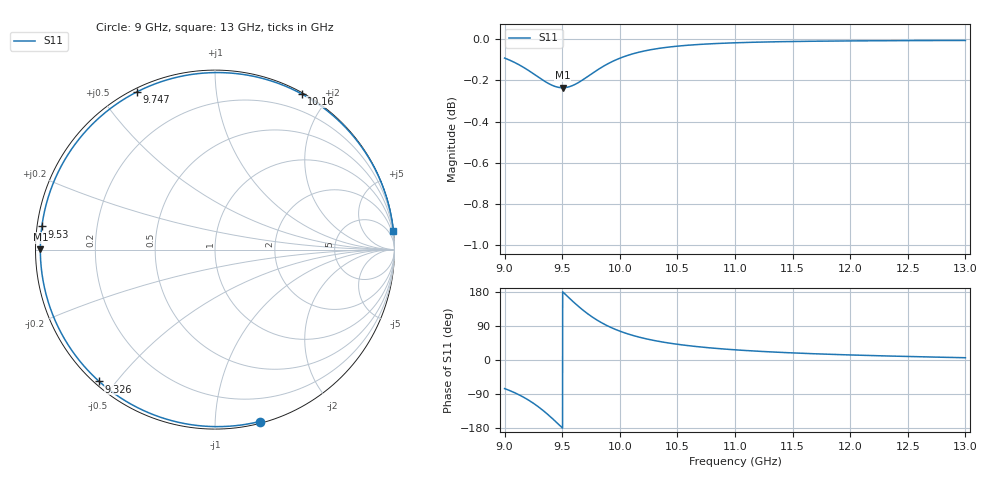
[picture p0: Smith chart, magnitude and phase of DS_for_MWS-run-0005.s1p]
! TOUCHSTONE file generated by CST DESIGN STUDIO
! Date and time: Tue Feb  4 14:24:10 2025
! Project name: C:\Work\MatlabApps\UnitCellOptimizationMatlab\CST\unitcell.cst
! Tree item: Tasks\Sweep1\SPara1\S-Parameters
! Header version: 2024
! Port assignment regex: !\s*Touchstone port\s*([0-9]+)\s*=\s*(CST MWS port|CST DES external port|CST DES block port)\s*(.+)\s* \(\"(.*)\"\)(\s*mode\s*([0-9]+))?.*
! Touchstone port assignment:
! Touchstone port 1 = CST DES external port 1 ("")
# GHz S MA R 50
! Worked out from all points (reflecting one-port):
!   4001 points, 9 GHz to 13 GHz, reference 50 ohm
!   lowest |S11| = -0.2 dB at 9.504 GHz (marker M1), VSWR 73.74, Z = 0.678 + j0.0203 ohm
!   phase of S11 starts at -75 deg and turns -279 deg over the sweep
!   S11 on the Smith chart (normalised r, x): 9 GHz: 0.01, -1.29; 9.326 GHz: 0.01, -0.45; 9.53 GHz: 0.01, +0.07; 9.747 GHz: 0.01, +0.62; 10.16 GHz: 0.01, +1.70; 13 GHz: 0, +19
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9  0.9895 -75.4
9.086  0.9871 -86.2
9.188  0.9835 -102.3
9.26  0.9805 -116.3
9.326  0.9777 -131.3
9.372  0.9759 -142.9
9.421  0.9743 -156.2
9.461  0.9735 -167.6
9.5  0.9732 -178.9
9.504  0.9732 180.0
9.53  0.9734 172.4
9.583  0.9743 157.2
9.643  0.9761 141.0
9.694  0.9782 128.3
9.747  0.9805 116.4
9.799  0.9827 106.0
9.856  0.9849 96.0
9.927  0.9874 85.3
10  0.9894 76.2
10.16  0.9927 60.9
10.315  0.9947 50.5
10.5  0.9962 41.5
10.722  0.9972 33.7
11  0.998 26.9
11.5  0.9988 18.7
12  0.9991 13.3
12.5  0.9993 9.3
13  0.9993 6.0
